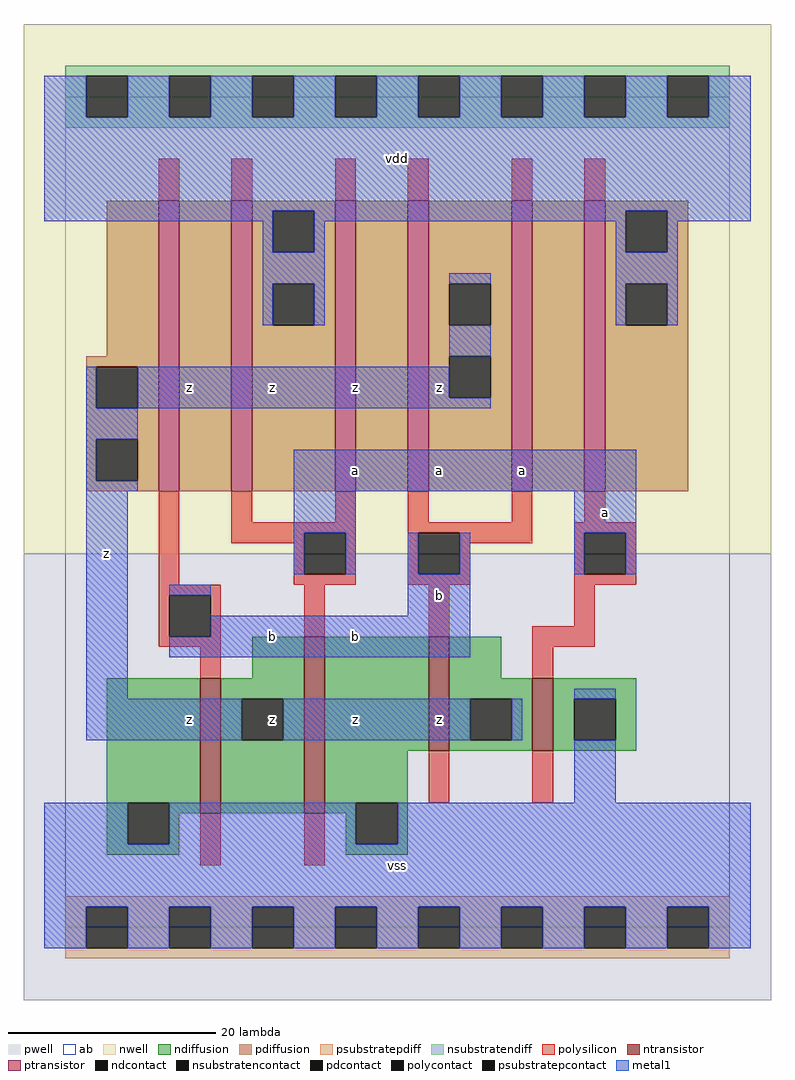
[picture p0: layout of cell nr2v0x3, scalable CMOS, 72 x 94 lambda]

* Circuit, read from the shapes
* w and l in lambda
.subckt nr2v0x3 a b vdd vss z
M1 z b vss vss nfet w=13 l=2
M2 vss a z vss nfet w=17 l=2
M3 z b vss vss nfet w=11 l=2
M4 vss a z vss nfet w=7 l=2
M5 n1 b z vdd pfet w=28 l=2
M6 vdd a n1 vdd pfet w=28 l=2
M7 n2 a vdd vdd pfet w=28 l=2
M8 z b n2 vdd pfet w=28 l=2
M9 n3 b z vdd pfet w=28 l=2
M10 vdd a n3 vdd pfet w=28 l=2
.ends

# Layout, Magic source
magic
tech scmos
<< ab >>
rect 0 0 64 80
<< pwell >>
rect -4 -7 68 36
<< nwell >>
rect -4 36 68 87
<< polysilicon >>
rect 9 70 11 74
rect 16 70 18 74
rect 26 70 28 74
rect 33 70 35 74
rect 43 70 45 74
rect 50 70 52 74
rect 9 33 11 42
rect 16 39 18 42
rect 26 39 28 42
rect 16 38 28 39
rect 16 37 23 38
rect 22 34 23 37
rect 27 34 28 38
rect 22 33 28 34
rect 33 39 35 42
rect 43 39 45 42
rect 50 39 52 42
rect 33 38 45 39
rect 33 34 34 38
rect 38 37 45 38
rect 49 38 55 39
rect 38 34 39 37
rect 33 33 39 34
rect 49 34 50 38
rect 54 34 55 38
rect 49 33 55 34
rect 9 32 15 33
rect 9 28 10 32
rect 14 28 15 32
rect 23 28 25 33
rect 35 28 37 33
rect 49 29 51 33
rect 9 27 15 28
rect 13 24 15 27
rect 45 27 51 29
rect 45 24 47 27
rect 35 12 37 17
rect 45 12 47 17
rect 13 6 15 11
rect 23 6 25 11
<< ndiffusion >>
rect 18 24 23 28
rect 4 12 13 24
rect 4 8 6 12
rect 10 11 13 12
rect 15 22 23 24
rect 15 18 17 22
rect 21 18 23 22
rect 15 11 23 18
rect 25 17 35 28
rect 37 24 42 28
rect 37 22 45 24
rect 37 18 39 22
rect 43 18 45 22
rect 37 17 45 18
rect 47 22 55 24
rect 47 18 49 22
rect 53 18 55 22
rect 47 17 55 18
rect 25 12 33 17
rect 25 11 28 12
rect 10 8 11 11
rect 4 7 11 8
rect 27 8 28 11
rect 32 8 33 12
rect 27 7 33 8
<< pdiffusion >>
rect 4 55 9 70
rect 2 54 9 55
rect 2 50 3 54
rect 7 50 9 54
rect 2 47 9 50
rect 2 43 3 47
rect 7 43 9 47
rect 2 42 9 43
rect 11 42 16 70
rect 18 69 26 70
rect 18 65 20 69
rect 24 65 26 69
rect 18 62 26 65
rect 18 58 20 62
rect 24 58 26 62
rect 18 42 26 58
rect 28 42 33 70
rect 35 62 43 70
rect 35 58 37 62
rect 41 58 43 62
rect 35 55 43 58
rect 35 51 37 55
rect 41 51 43 55
rect 35 42 43 51
rect 45 42 50 70
rect 52 69 60 70
rect 52 65 54 69
rect 58 65 60 69
rect 52 62 60 65
rect 52 58 54 62
rect 58 58 60 62
rect 52 42 60 58
<< metal1 >>
rect -2 78 2 82
rect 6 78 10 82
rect 14 78 18 82
rect 22 78 26 82
rect 30 78 34 82
rect 38 78 42 82
rect 46 78 50 82
rect 54 78 58 82
rect 62 78 66 82
rect -2 69 66 78
rect -2 68 20 69
rect 19 65 20 68
rect 24 68 54 69
rect 24 65 25 68
rect 19 62 25 65
rect 53 65 54 68
rect 58 68 66 69
rect 58 65 59 68
rect 19 58 20 62
rect 24 58 25 62
rect 37 62 41 63
rect 53 62 59 65
rect 53 58 54 62
rect 58 58 59 62
rect 37 55 41 58
rect 2 50 3 54
rect 7 51 37 54
rect 7 50 41 51
rect 2 47 7 50
rect 2 43 3 47
rect 2 42 7 43
rect 22 42 55 46
rect 2 22 6 42
rect 22 38 28 42
rect 49 38 55 42
rect 22 34 23 38
rect 27 34 28 38
rect 33 34 34 38
rect 38 34 39 38
rect 49 34 50 38
rect 54 34 55 38
rect 10 32 14 33
rect 33 30 39 34
rect 14 28 39 30
rect 10 26 39 28
rect 49 22 53 23
rect 2 18 17 22
rect 21 18 39 22
rect 43 18 44 22
rect 49 12 53 18
rect -2 8 6 12
rect 10 8 28 12
rect 32 8 66 12
rect -2 2 66 8
rect -2 -2 2 2
rect 6 -2 10 2
rect 14 -2 18 2
rect 22 -2 26 2
rect 30 -2 34 2
rect 38 -2 42 2
rect 46 -2 50 2
rect 54 -2 58 2
rect 62 -2 66 2
<< ntransistor >>
rect 13 11 15 24
rect 23 11 25 28
rect 35 17 37 28
rect 45 17 47 24
<< ptransistor >>
rect 9 42 11 70
rect 16 42 18 70
rect 26 42 28 70
rect 33 42 35 70
rect 43 42 45 70
rect 50 42 52 70
<< polycontact >>
rect 23 34 27 38
rect 34 34 38 38
rect 50 34 54 38
rect 10 28 14 32
<< ndcontact >>
rect 6 8 10 12
rect 17 18 21 22
rect 39 18 43 22
rect 49 18 53 22
rect 28 8 32 12
<< pdcontact >>
rect 3 50 7 54
rect 3 43 7 47
rect 20 65 24 69
rect 20 58 24 62
rect 37 58 41 62
rect 37 51 41 55
rect 54 65 58 69
rect 54 58 58 62
<< psubstratepcontact >>
rect 2 -2 6 2
rect 10 -2 14 2
rect 18 -2 22 2
rect 26 -2 30 2
rect 34 -2 38 2
rect 42 -2 46 2
rect 50 -2 54 2
rect 58 -2 62 2
<< nsubstratencontact >>
rect 2 78 6 82
rect 10 78 14 82
rect 18 78 22 82
rect 26 78 30 82
rect 34 78 38 82
rect 42 78 46 82
rect 50 78 54 82
rect 58 78 62 82
<< psubstratepdiff >>
rect 0 2 64 3
rect 0 -2 2 2
rect 6 -2 10 2
rect 14 -2 18 2
rect 22 -2 26 2
rect 30 -2 34 2
rect 38 -2 42 2
rect 46 -2 50 2
rect 54 -2 58 2
rect 62 -2 64 2
rect 0 -3 64 -2
<< nsubstratendiff >>
rect 0 82 64 83
rect 0 78 2 82
rect 6 78 10 82
rect 14 78 18 82
rect 22 78 26 82
rect 30 78 34 82
rect 38 78 42 82
rect 46 78 50 82
rect 54 78 58 82
rect 62 78 64 82
rect 0 77 64 78
<< labels >>
rlabel metal1 4 36 4 36 6 z
rlabel metal1 12 20 12 20 6 z
rlabel metal1 20 28 20 28 6 b
rlabel ndcontact 20 20 20 20 6 z
rlabel metal1 20 52 20 52 6 z
rlabel metal1 12 52 12 52 6 z
rlabel metal1 32 6 32 6 6 vss
rlabel metal1 28 20 28 20 6 z
rlabel metal1 28 28 28 28 6 b
rlabel metal1 36 20 36 20 6 z
rlabel metal1 36 32 36 32 6 b
rlabel metal1 28 44 28 44 6 a
rlabel metal1 36 44 36 44 6 a
rlabel metal1 36 52 36 52 6 z
rlabel metal1 28 52 28 52 6 z
rlabel metal1 32 74 32 74 6 vdd
rlabel metal1 44 44 44 44 6 a
rlabel metal1 52 40 52 40 6 a
<< end >>
